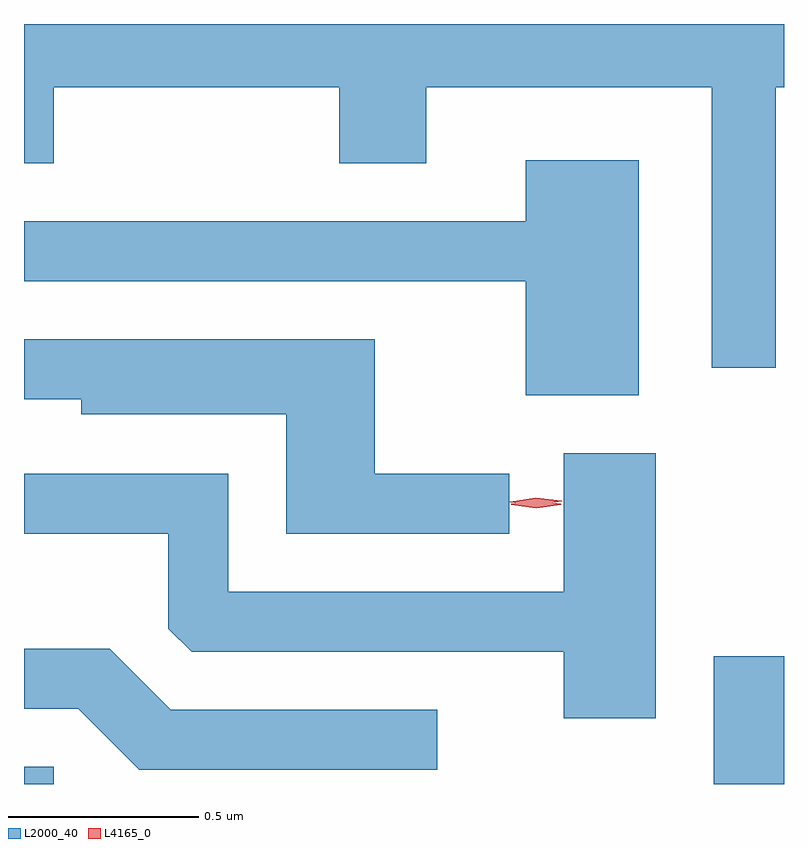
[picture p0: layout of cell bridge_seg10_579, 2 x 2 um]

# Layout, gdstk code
import gdstk
lib = gdstk.Library(unit=1e-6, precision=1e-09)
def R(c, l, rs):  # rectangles x0, y0, x1, y1
    for r in rs: c.add(gdstk.rectangle(r[:2], r[2:], *l))
def P(c, l, *ps):  # polygons
    for p in ps: c.add(gdstk.Polygon(p, *l))
L2000_40 = (2000, 40)
L4165_0 = (4165, 0)

bridge_seg10_579 = lib.new_cell('bridge_seg10_579')
R(bridge_seg10_579, L2000_40, [(807.311,2187.563,807.389,2187.609), (809.126,2187.563,809.311,2187.899)])
P(bridge_seg10_579, L2000_40, [(809.289,2189.396),(809.311,2189.396),(809.311,2189.563),(807.311,2189.563),(807.311,2189.196),(807.389,2189.196),(807.389,2189.396),(808.141,2189.396),(808.141,2189.196),(808.369,2189.196),(808.369,2189.396),(809.121,2189.396),(809.121,2188.658),(809.289,2188.658)],
  [(808.929,2189.204),(808.631,2189.204),(808.631,2189.044),(807.311,2189.044),(807.311,2188.886),(808.631,2188.886),(808.631,2188.586),(808.929,2188.586)],
  [(808.588,2188.379),(808.234,2188.379),(808.234,2188.734),(807.311,2188.734),(807.311,2188.576),(807.461,2188.576),(807.461,2188.536),(808.001,2188.536),(808.001,2188.221),(808.588,2188.221)],
  [(808.974,2188.434),(808.731,2188.434),(808.731,2188.069),(807.849,2188.069),(807.849,2188.379),(807.311,2188.379),(807.311,2188.221),(807.691,2188.221),(807.691,2187.972),(807.752,2187.911),(808.731,2187.911),(808.731,2187.736),(808.974,2187.736)],
  [(808.398,2187.759),(807.697,2187.759),(807.537,2187.919),(807.311,2187.919),(807.311,2187.761),(807.454,2187.761),(807.614,2187.601),(808.398,2187.601)])
P(bridge_seg10_579, L4165_0, [(808.658,2188.296),(808.59,2188.305),(808.589,2188.306),(808.59,2188.306),(808.658,2188.316),(808.726,2188.308),(808.727,2188.307),(808.726,2188.307)],
  [(808.659,2188.289),(808.593,2188.298),(808.593,2188.299),(808.593,2188.3),(808.659,2188.309),(808.724,2188.3),(808.725,2188.299),(808.724,2188.298)])

lib.write_gds('bridge_seg10_579.gds')
